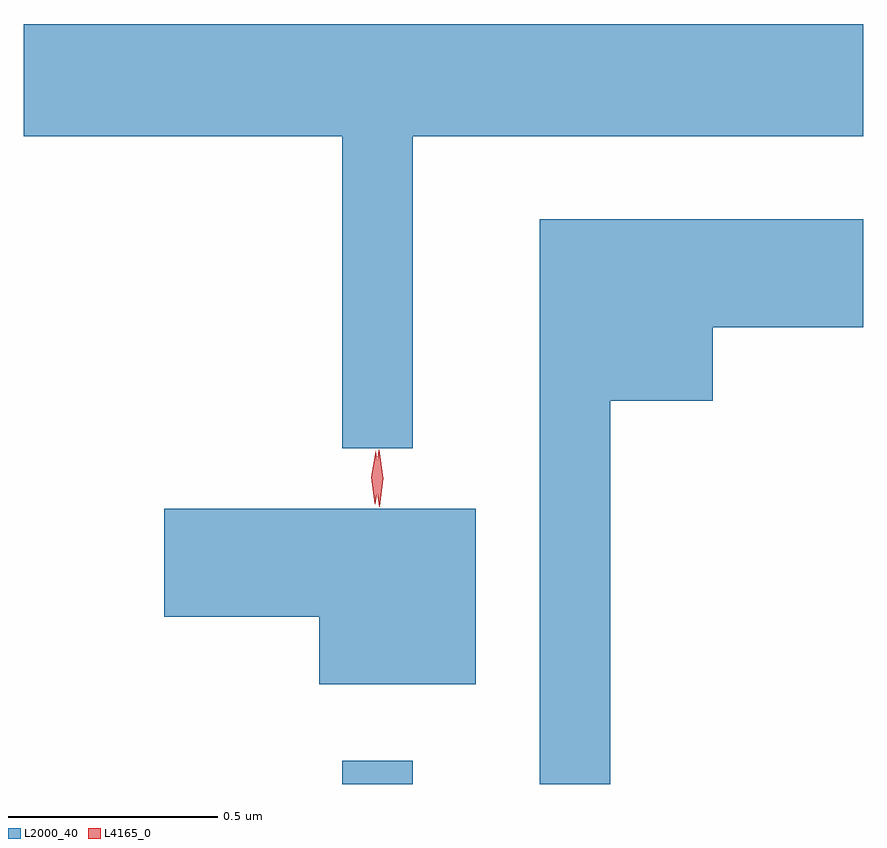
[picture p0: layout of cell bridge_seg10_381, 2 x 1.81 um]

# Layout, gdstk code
import gdstk
lib = gdstk.Library(unit=1e-6, precision=1e-09)
def R(c, l, rs):  # rectangles x0, y0, x1, y1
    for r in rs: c.add(gdstk.rectangle(r[:2], r[2:], *l))
def P(c, l, *ps):  # polygons
    for p in ps: c.add(gdstk.Polygon(p, *l))
L2000_40 = (2000, 40)
L4165_0 = (4165, 0)

bridge_seg10_381 = lib.new_cell('bridge_seg10_381')
R(bridge_seg10_381, L2000_40, [(1220.641,2161.213,1220.809,2161.268)])
P(bridge_seg10_381, L2000_40, [(1220.809,2162.756),(1221.882,2162.756),(1221.882,2163.024),(1219.882,2163.024),(1219.882,2162.756),(1220.641,2162.756),(1220.641,2162.013),(1220.809,2162.013)],
  [(1221.279,2162.126),(1221.524,2162.126),(1221.524,2162.301),(1221.882,2162.301),(1221.882,2162.559),(1221.111,2162.559),(1221.111,2161.213),(1221.279,2161.213)],
  [(1220.959,2161.869),(1220.216,2161.869),(1220.216,2161.611),(1220.586,2161.611),(1220.586,2161.451),(1220.959,2161.451)])
P(bridge_seg10_381, L4165_0, [(1220.729,2161.874),(1220.719,2161.942),(1220.728,2162.01),(1220.728,2162.01),(1220.729,2162.01),(1220.739,2161.942),(1220.73,2161.874),(1220.73,2161.874)],
  [(1220.719,2161.88),(1220.718,2161.881),(1220.71,2161.944),(1220.72,2162.006),(1220.721,2162.007),(1220.721,2162.006),(1220.73,2161.943),(1220.719,2161.881)])

lib.write_gds('bridge_seg10_381.gds')
